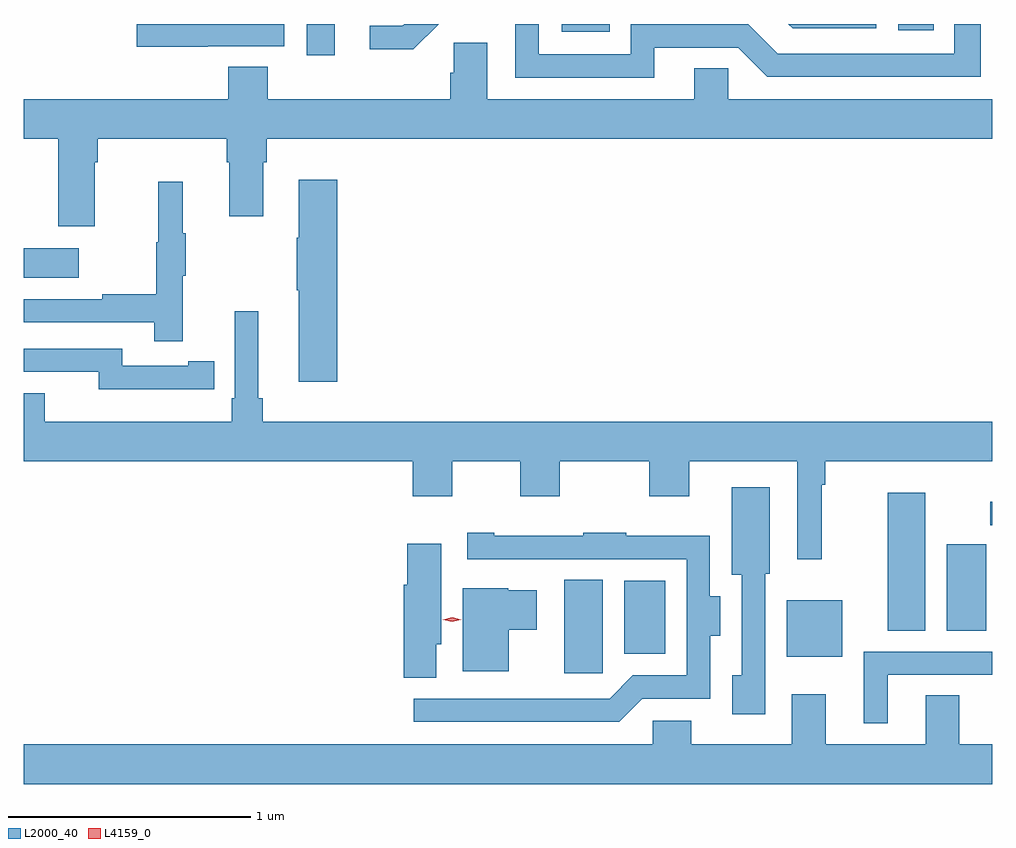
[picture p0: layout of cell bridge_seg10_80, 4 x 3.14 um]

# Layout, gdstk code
import gdstk
lib = gdstk.Library(unit=1e-6, precision=1e-09)
def R(c, l, rs):  # rectangles x0, y0, x1, y1
    for r in rs: c.add(gdstk.rectangle(r[:2], r[2:], *l))
def P(c, l, *ps):  # polygons
    for p in ps: c.add(gdstk.Polygon(p, *l))
L2000_40 = (2000, 40)
L4159_0 = (4159, 0)

bridge_seg10_80 = lib.new_cell('bridge_seg10_80')
R(bridge_seg10_80, L2000_40, [(675.038,1280.793,675.196,1281.179), (675.956,1280.861,676.186,1281.094), (675.284,1280.873,675.454,1281.175), (676.373,1280.968,676.528,1281.538), (676.616,1280.968,676.78,1281.325), (676.797,1281.405,676.805,1281.502), (672.805,1282.427,673.033,1282.549), (673.974,1283.346,674.089,1283.474), (675.027,1283.441,675.225,1283.474), (676.416,1283.448,676.562,1283.474)])
P(bridge_seg10_80, L2000_40, [(674.519,1283.474),(674.377,1283.474),(674.369,1283.466),(674.235,1283.466),(674.235,1283.369),(674.413,1283.369)],
  [(676.326,1283.474),(675.963,1283.474),(675.98,1283.457),(676.326,1283.457)],
  [(673.565,1283.382),(673.881,1283.382),(673.881,1283.474),(673.273,1283.474),(673.273,1283.381),(673.565,1283.381)],
  [(675.409,1283.376),(675.756,1283.376),(675.876,1283.256),(676.756,1283.256),(676.756,1283.474),(676.647,1283.474),(676.647,1283.352),(675.918,1283.352),(675.798,1283.472),(675.312,1283.472),(675.312,1283.349),(674.931,1283.349),(674.931,1283.474),(674.835,1283.474),(674.835,1283.253),(675.409,1283.253)],
  [(673.649,1283.164),(672.805,1283.164),(672.805,1283),(672.947,1283),(672.947,1282.638),(673.099,1282.638),(673.099,1282.904),(673.112,1282.904),(673.112,1283),(673.643,1283),(673.643,1282.904),(673.655,1282.904),(673.655,1282.68),(673.795,1282.68),(673.795,1282.904),(673.808,1282.904),(673.808,1283),(676.805,1283),(676.805,1283.164),(675.714,1283.164),(675.714,1283.291),(675.575,1283.291),(675.575,1283.164),(674.719,1283.164),(674.719,1283.396),(674.58,1283.396),(674.58,1283.273),(674.567,1283.273),(674.567,1283.164),(673.814,1283.164),(673.814,1283.297),(673.649,1283.297)],
  [(674.099,1282.831),(673.94,1282.831),(673.94,1282.592),(673.933,1282.592),(673.933,1282.375),(673.94,1282.375),(673.94,1281.996),(674.099,1281.996)],
  [(673.463,1282.435),(673.474,1282.435),(673.474,1282.609),(673.463,1282.609),(673.463,1282.822),(673.36,1282.822),(673.36,1282.572),(673.353,1282.572),(673.353,1282.358),(673.129,1282.358),(673.129,1282.338),(672.805,1282.338),(672.805,1282.242),(673.345,1282.242),(673.345,1282.164),(673.463,1282.164)],
  [(676.1,1281.572),(676.115,1281.572),(676.115,1281.668),(676.805,1281.668),(676.805,1281.832),(673.793,1281.832),(673.793,1281.928),(673.774,1281.928),(673.774,1282.288),(673.677,1282.288),(673.677,1281.928),(673.664,1281.928),(673.664,1281.832),(672.892,1281.832),(672.892,1281.949),(672.805,1281.949),(672.805,1281.668),(674.411,1281.668),(674.411,1281.525),(674.575,1281.525),(674.575,1281.668),(674.855,1281.668),(674.855,1281.525),(675.019,1281.525),(675.019,1281.668),(675.389,1281.668),(675.389,1281.525),(675.553,1281.525),(675.553,1281.668),(675.999,1281.668),(675.999,1281.264),(676.1,1281.264)],
  [(673.484,1281.966),(673.592,1281.966),(673.592,1282.082),(673.484,1282.082),(673.484,1282.062),(673.212,1282.062),(673.212,1282.134),(672.805,1282.134),(672.805,1282.038),(673.116,1282.038),(673.116,1281.965),(673.484,1281.965)],
  [(675.867,1281.204),(675.886,1281.204),(675.886,1281.562),(675.728,1281.562),(675.728,1281.2),(675.771,1281.2),(675.771,1280.785),(675.731,1280.785),(675.731,1280.625),(675.867,1280.625)],
  [(675.36,1280.688),(675.64,1280.688),(675.64,1280.948),(675.682,1280.948),(675.682,1281.112),(675.639,1281.112),(675.639,1281.361),(675.293,1281.361),(675.293,1281.373),(675.115,1281.373),(675.115,1281.361),(674.749,1281.361),(674.749,1281.373),(674.637,1281.373),(674.637,1281.264),(675.543,1281.264),(675.543,1280.784),(675.321,1280.784),(675.225,1280.688),(674.415,1280.688),(674.415,1280.592),(675.264,1280.592)],
  [(674.509,1280.913),(674.53,1280.913),(674.53,1281.328),(674.39,1281.328),(674.39,1281.159),(674.375,1281.159),(674.375,1280.775),(674.509,1280.775)],
  [(674.809,1280.972),(674.923,1280.972),(674.923,1281.136),(674.805,1281.136),(674.805,1281.145),(674.618,1281.145),(674.618,1280.801),(674.809,1280.801)],
  [(676.372,1280.787),(676.805,1280.787),(676.805,1280.883),(676.274,1280.883),(676.274,1280.586),(676.372,1280.586)],
  [(676.805,1280.5),(676.669,1280.5),(676.669,1280.702),(676.529,1280.702),(676.529,1280.5),(676.117,1280.5),(676.117,1280.707),(675.977,1280.707),(675.977,1280.5),(675.561,1280.5),(675.561,1280.598),(675.402,1280.598),(675.402,1280.5),(672.805,1280.5),(672.805,1280.336),(676.805,1280.336)])
P(bridge_seg10_80, L4159_0, [(674.574,1281.005),(674.535,1281.014),(674.535,1281.014),(674.535,1281.014),(674.574,1281.025),(674.613,1281.015),(674.613,1281.015),(674.613,1281.015)])

lib.write_gds('bridge_seg10_80.gds')
